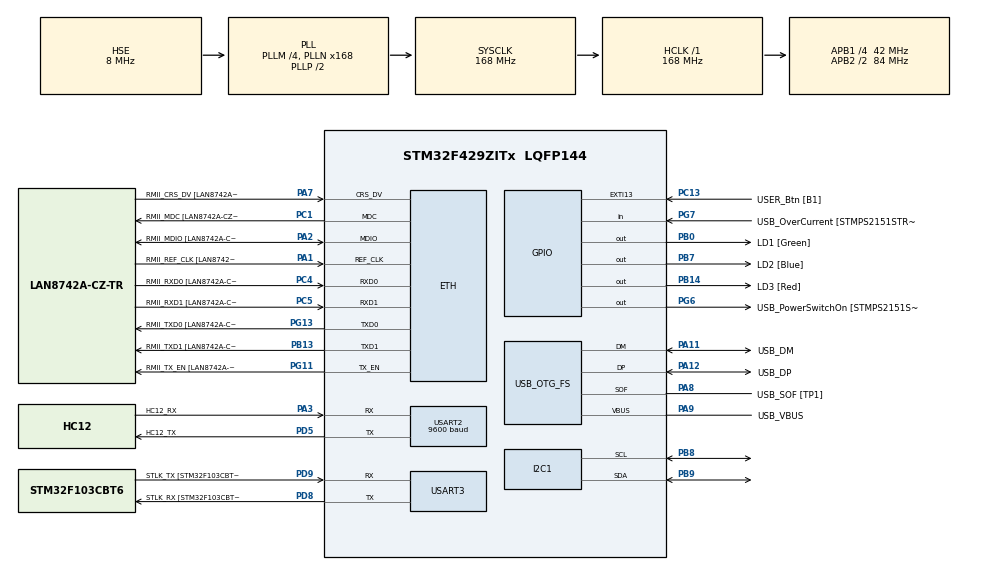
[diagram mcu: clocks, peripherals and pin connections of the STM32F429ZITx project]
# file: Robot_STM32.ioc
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ETH.MediaInterface=HAL_ETH_RMII_MODE
ETH.PHY_Name=LAN8742A_PHY_ADDRESS
ETH.PHY_Value=0
ETH.PhyAddress=0
FREERTOS.Tasks01=defaultTask,31,128,StartDefaultTask,Default,NULL,Dynamic,NULL,NULL;myTask02,8,128,StartTask02,Default,NULL,Dynamic,NULL,NULL
Mcu.Family=STM32F4
Mcu.Name=STM32F429ZITx
Mcu.Package=LQFP144
NVIC.EXTI15_10_IRQn=true\:5\:0\:false\:false\:true\:true\:true\:true\:true
NVIC.PriorityGroup=NVIC_PRIORITYGROUP_4
NVIC.TIM1_UP_TIM10_IRQn=true\:15\:0\:false\:false\:true\:false\:false\:true\:true
NVIC.TimeBase=TIM1_UP_TIM10_IRQn
NVIC.TimeBaseIP=TIM1
PA1.GPIO_Label=RMII_REF_CLK [LAN8742A-CZ-TR_REFCLK0]
PA1.Mode=RMII
PA1.Signal=ETH_REF_CLK
PA10.GPIO_Label=USB_ID
PA10.Signal=USB_OTG_FS_ID
PA11.GPIO_Label=USB_DM
PA11.Mode=Device_Only
PA11.Signal=USB_OTG_FS_DM
PA12.GPIO_Label=USB_DP
PA12.Mode=Device_Only
PA12.Signal=USB_OTG_FS_DP
PA13.GPIO_Label=TMS
PA13.Mode=Serial_Wire
PA13.Signal=SYS_JTMS-SWDIO
PA14.GPIO_Label=TCK
PA14.Mode=Serial_Wire
PA14.Signal=SYS_JTCK-SWCLK
PA2.GPIO_Label=RMII_MDIO [LAN8742A-CZ-TR_MDIO]
PA2.Mode=RMII
PA2.Signal=ETH_MDIO
PA3.GPIO_Label=HC12_RX
PA3.Mode=Asynchronous
PA3.Signal=USART2_RX
PA7.GPIO_Label=RMII_CRS_DV [LAN8742A-CZ-TR_CRS_DV]
PA7.Mode=RMII
PA7.Signal=ETH_CRS_DV
PA8.GPIO_Label=USB_SOF [TP1]
PA8.Mode=Activate_SOF_FS
PA8.Signal=USB_OTG_FS_SOF
PA9.GPIO_Label=USB_VBUS
PA9.Mode=Activate_VBUS
PA9.Signal=USB_OTG_FS_VBUS
PB0.GPIO_Label=LD1 [Green]
PB0.Signal=GPIO_Output
PB13.GPIO_Label=RMII_TXD1 [LAN8742A-CZ-TR_TXD1]
PB13.Mode=RMII
PB13.Signal=ETH_TXD1
PB14.GPIO_Label=LD3 [Red]
PB14.Signal=GPIO_Output
PB7.GPIO_Label=LD2 [Blue]
PB7.Signal=GPIO_Output
PB8.Mode=I2C
PB8.Signal=I2C1_SCL
PB9.Mode=I2C
PB9.Signal=I2C1_SDA
PC1.GPIO_Label=RMII_MDC [LAN8742A-CZ-TR_MDC]
PC1.Mode=RMII
PC1.Signal=ETH_MDC
PC13.GPIO_Label=USER_Btn [B1]
PC13.Signal=GPXTI13
PC14/OSC32_IN.Mode=LSE-External-Oscillator
PC14/OSC32_IN.Signal=RCC_OSC32_IN
PC15/OSC32_OUT.Mode=LSE-External-Oscillator
PC15/OSC32_OUT.Signal=RCC_OSC32_OUT
PC4.GPIO_Label=RMII_RXD0 [LAN8742A-CZ-TR_RXD0]
PC4.Mode=RMII
PC4.Signal=ETH_RXD0
PC5.GPIO_Label=RMII_RXD1 [LAN8742A-CZ-TR_RXD1]
PC5.Mode=RMII
PC5.Signal=ETH_RXD1
PD5.GPIO_Label=HC12_TX
PD5.Mode=Asynchronous
PD5.Signal=USART2_TX
PD8.GPIO_Label=STLK_RX [STM32F103CBT6_PA3]
PD8.Mode=Asynchronous
PD8.Signal=USART3_TX
PD9.GPIO_Label=STLK_TX [STM32F103CBT6_PA2]
PD9.Mode=Asynchronous
PD9.Signal=USART3_RX
PG11.GPIO_Label=RMII_TX_EN [LAN8742A-CZ-TR_TXEN]
PG11.Mode=RMII
PG11.Signal=ETH_TX_EN
PG13.GPIO_Label=RMII_TXD0 [LAN8742A-CZ-TR_TXD0]
PG13.Mode=RMII
PG13.Signal=ETH_TXD0
PG6.GPIO_Label=USB_PowerSwitchOn [STMPS2151STR_EN]
PG6.Signal=GPIO_Output
PG7.GPIO_Label=USB_OverCurrent [STMPS2151STR_FAULT]
PG7.Signal=GPIO_Input
PH0/OSC_IN.GPIO_Label=MCO [STM32F103CBT6_PA8]
PH0/OSC_IN.Mode=HSE-External-Clock-Source
PH0/OSC_IN.Signal=RCC_OSC_IN
PH1/OSC_OUT.Mode=HSE-External-Clock-Source
PH1/OSC_OUT.Signal=RCC_OSC_OUT
ProjectManager.HeapSize=0x200
ProjectManager.StackSize=0x400
ProjectManager.TargetToolchain=Makefile
RCC.48MHZClocksFreq_Value=48000000
RCC.AHBFreq_Value=168000000
RCC.APB1CLKDivider=RCC_HCLK_DIV4
RCC.APB1Freq_Value=42000000
RCC.APB1TimFreq_Value=84000000
RCC.APB2CLKDivider=RCC_HCLK_DIV2
RCC.APB2Freq_Value=84000000
RCC.APB2TimCLKDivider=2
RCC.APB2TimFreq_Value=168000000
RCC.CortexFreq_Value=168000000
RCC.HCLKFreq_Value=168000000
RCC.HSE_VALUE=8000000
RCC.HSI_VALUE=16000000
RCC.PLLM=4
RCC.PLLMUL=RCC_PLL_MUL9
RCC.PLLN=168
RCC.PLLQ=7
RCC.PRESCALERUSB=RCC_USBCLKSOURCE_PLL_DIV1_5
RCC.SYSCLKFreq_VALUE=168000000
RCC.SYSCLKSource=RCC_SYSCLKSOURCE_PLLCLK
RCC.SYSCLKSourceVirtual=RCC_SYSCLKSOURCE_PLLCLK
RCC.USBFreq_Value=48000000
RCC.VCOOutputFreq_Value=336000000
USART2.BaudRate=9600
USART2.Mode=MODE_RX
USART2.VirtualMode=VM_ASYNC
USART3.VirtualMode=VM_ASYNC
USB_OTG_FS.VirtualMode=Device_Only
VP_FREERTOS_VS_CMSIS_V2.Mode=CMSIS_V2
VP_SYS_VS_tim1.Mode=TIM1
board=NUCLEO-F429ZI

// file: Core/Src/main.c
/* USER CODE BEGIN Header */
/**
 ******************************************************************************
 * @file           : main.c
 * @brief          : Main program body
 ******************************************************************************
 * @attention
 *
 * Copyright (c) 2024 STMicroelectronics.
 * All rights reserved.
 *
 * This software is licensed under terms that can be found in the LICENSE file
 * in the root directory of this software component.
 * If no LICENSE file comes with this software, it is provided AS-IS.
 *
 ******************************************************************************
 */
/* USER CODE END Header */
#include "main.h"
#include "string.h"
#include "cmsis_os.h"

/* USER CODE BEGIN Includes */
#include <stdio.h>
// #include <MPU9250.h>
/* USER CODE END Includes */

ETH_TxPacketConfig TxConfig;
ETH_DMADescTypeDef DMARxDscrTab[ETH_RX_DESC_CNT]; /* Ethernet Rx DMA Descriptors */
ETH_DMADescTypeDef DMATxDscrTab[ETH_TX_DESC_CNT]; /* Ethernet Tx DMA Descriptors */

ETH_HandleTypeDef heth;

I2C_HandleTypeDef hi2c1;

UART_HandleTypeDef huart2;
UART_HandleTypeDef huart3;

PCD_HandleTypeDef hpcd_USB_OTG_FS;

/* Definitions for defaultTask */
osThreadId_t defaultTaskHandle;
const osThreadAttr_t defaultTask_attributes = {
    .name = "defaultTask",
    .stack_size = 128 * 4,
    .priority = (osPriority_t)osPriorityNormal7,
};
/* Definitions for myTask02 */
osThreadId_t myTask02Handle;
const osThreadAttr_t myTask02_attributes = {
    .name = "myTask02",
    .stack_size = 128 * 4,
    .priority = (osPriority_t)osPriorityLow,
};
/* USER CODE BEGIN PV */
// const address = MPU9250_ADDRESS;

/* USER CODE END PV */

void SystemClock_Config(void);
static void MX_GPIO_Init(void);
static void MX_ETH_Init(void);
static void MX_USART3_UART_Init(void);
static void MX_USB_OTG_FS_PCD_Init(void);
static void MX_I2C1_Init(void);
static void MX_USART2_UART_Init(void);
void StartDefaultTask(void *argument);
void StartTask02(void *argument);

/* USER CODE BEGIN 0 */
int _write(int le, char *ptr, int len)

{

  int DataIdx;
  for (DataIdx = 0; DataIdx < len; DataIdx++)

  {
    ITM_SendChar(*ptr++);
  }
  return len;
}

void I2C_Scan()
{
  char info[] = "Scanning I2C bus...\r\n";
  // HAL_UART_Transmit(&huart2, (uint8_t*)info, strlen(info), HAL_MAX_DELAY);
  printf("%s", info);

  HAL_StatusTypeDef res;
  for (uint16_t i = 0; i < 128; i++)
  {
    res = HAL_I2C_IsDeviceReady(&hi2c1, i << 1, 1, 10);
    if (res == HAL_OK)
    {
      char msg[64];
      snprintf(msg, sizeof(msg), "0x%02X", i);
      // HAL_UART_Transmit(&huart2, (uint8_t *)msg, strlen(msg), HAL_MAX_DELAY);
      printf("%s", msg);
    }
    else
    {
      // HAL_UART_Transmit(&huart2, (uint8_t *)".", 1, HAL_MAX_DELAY);
      printf(".");
    }
  }

  // HAL_UART_Transmit(&huart2, (uint8_t *)"\r\n", 2, HAL_MAX_DELAY);
  printf("\r\n");
}
void skip()
{

  // void magWakeup(void)
  // {
  //   char bits;
  //   i2c_readByte(address, PWR_MGMT_1, &bits);
  //   bits &= ~0b01110000; // Turn off SLEEP, STANDBY, CYCLE
  //   i2c_writeByte(address, MPU9250_ADDR_PWR_MGMT_1, bits);
  // }

  // void magEnableSlaveMode(void)
  // {
  //   char bits;

  //   i2c_readByte(address, MPU9250_ADDR_INT_PIN_CFG, &bits);
  //   bits |= 0b00000010; // Activate BYPASS_EN
  //   i2c_writeByte(address, MPU9250_ADDR_INT_PIN_CFG, bits);
  // }

  // float adjustMagValue(int16_t value, uint8_t adjust)
  // {
  //   return ((float)value * (((((float)adjust - 128) * 0.5) / 128) + 1));
  // }

  // float MPU9250_magX(void)
  // {
  //   return adjustMagValue(MPU9250_magGet(1, 0), magXAdjust) + magXOffset;
  // }

  // float MPU9250_magY(void)
  // {
  //   return adjustMagValue(MPU9250_magGet(3, 2), magYAdjust) + magYOffset;
  // }

  // float MPU9250_magZ(void)
  // {
  //   return adjustMagValue(MPU9250_magGet(5, 4), magZAdjust) + magZOffset;
  // }

  // float MPU9250_magHorizDirection(void)
  // {
  //   return atan2(MPU9250_magX(), MPU9250_magY()) * 180 / Pi;
  // }

  // uint8_t MPU9250_magUpdate(void)
  // {

  //   i2c_ReadMulti(AK8963_ADDRESS, 0x03, 7, (char *)magBuf);

  //   return 0;
  // }

  // void MPU9250_beginMag(uint8_t mode)
  // {

  //   magWakeup();
  //   magEnableSlaveMode();
  //   magReadAdjustValues();
  //   magSetMode(MAG_MODE_POWERDOWN);
  //   magSetMode(mode);
  // }

  // void initMPU9250()
  // {
  //   uint8_t byte = 0;
  //   HAL_I2C_Mem_Read(&hi2c1, MPU9250_ADDRESS, GYRO_CONFIG, 1, &byte, 1, 100);
  //   byte = GYRO_FULL_SCALE_500_DPS;
  //   HAL_I2C_Mem_Write(&hi2c1, MPU9250_ADDRESS, GYRO_CONFIG, 1, &byte, 1, 100);
  //   byte = 0;
  //   HAL_I2C_Mem_Read(&hi2c1, MPU9250_ADDRESS, GYRO_CONFIG, 1, &byte, 1, 100);
  //   HAL_I2C_Master_Transmit()
  // }

  // //     void readGyroData(int16_t *destination)
  // //     {
  // //         uint8_t rawData[6];                                                  // x/y/z gyro register data stored here
  // //         readBytes(MPU9250_ADDRESS, GYRO_XOUT_H, 6, &rawData[0]);             // Read the six raw data registers sequentially into data array
  // //         destination[0] = (int16_t)(((int16_t)rawData[0] << 8) | rawData[1]); // Turn the MSB and LSB into a signed 16-bit value
  // //         destination[1] = (int16_t)(((int16_t)rawData[2] << 8) | rawData[3]);
  // //         destination[2] = (int16_t)(((int16_t)rawData[4] << 8) | rawData[5]);
  // //     }

  // void read_gyro()
  // {
  //   uint8_t gyro[6] = {0, 0, 0, 0, 0, 0};
  //   HAL_I2C_Mem_Read(&hi2c1, MPU9250_ADDRESS, GYRO_XOUT_H, 6, &gyro[0], 6, 100);
  //   int16_t gyro_x, gyro_y, gyro_z = 0;
  //   gyro_x = (int16_t)(((int16_t)gyro[0] << 8) | gyro[1]);
  //   gyro_y = (int16_t)(((int16_t)gyro[2] << 8) | gyro[3]);
  //   gyro_z = (int16_t)(((int16_t)gyro[4] << 8) | gyro[5]);
  //   printf("Gyro: (%d, %d, %d)\r\n", gyro_x, gyro_y, gyro_z);
  // }
}

/* USER CODE END 0 */

int main(void)
{

  /* MCU Configuration--------------------------------------------------------*/

  /* Reset of all peripherals, Initializes the Flash interface and the Systick. */
  HAL_Init();

  /* Configure the system clock */
  SystemClock_Config();

  /* Initialize all configured peripherals */
  MX_GPIO_Init();
  MX_ETH_Init();
  MX_USART3_UART_Init();
  MX_USB_OTG_FS_PCD_Init();
  MX_I2C1_Init();
  MX_USART2_UART_Init();
  /* USER CODE BEGIN 2 */
  printf("Starting\n");
  // initMPU9250();
  /* USER CODE END 2 */

  /* Init scheduler */
  osKernelInitialize();

  /* Create the thread(s) */
  /* creation of defaultTask */
  defaultTaskHandle = osThreadNew(StartDefaultTask, NULL, &defaultTask_attributes);

  /* creation of myTask02 */
  myTask02Handle = osThreadNew(StartTask02, NULL, &myTask02_attributes);

  /* Start scheduler */
  osKernelStart();

  /* We should never get here as control is now taken by the scheduler */
  /* Infinite loop */
  while (1)
  {

  }
}

void SystemClock_Config(void)
{
  RCC_OscInitTypeDef RCC_OscInitStruct = {0};
  RCC_ClkInitTypeDef RCC_ClkInitStruct = {0};

  /** Configure the main internal regulator output voltage
   */
  __HAL_RCC_PWR_CLK_ENABLE();
  __HAL_PWR_VOLTAGESCALING_CONFIG(PWR_REGULATOR_VOLTAGE_SCALE1);

  /** Initializes the RCC Oscillators according to the specified parameters
   * in the RCC_OscInitTypeDef structure.
   */
  RCC_OscInitStruct.OscillatorType = RCC_OSCILLATORTYPE_HSE;
  RCC_OscInitStruct.HSEState = RCC_HSE_BYPASS;
  RCC_OscInitStruct.PLL.PLLState = RCC_PLL_ON;
  RCC_OscInitStruct.PLL.PLLSource = RCC_PLLSOURCE_HSE;
  RCC_OscInitStruct.PLL.PLLM = 4;
  RCC_OscInitStruct.PLL.PLLN = 168;
  RCC_OscInitStruct.PLL.PLLP = RCC_PLLP_DIV2;
  RCC_OscInitStruct.PLL.PLLQ = 7;
  if (HAL_RCC_OscConfig(&RCC_OscInitStruct) != HAL_OK)
  {
    Error_Handler();
  }

  /** Initializes the CPU, AHB and APB buses clocks
   */
  RCC_ClkInitStruct.ClockType = RCC_CLOCKTYPE_HCLK | RCC_CLOCKTYPE_SYSCLK | RCC_CLOCKTYPE_PCLK1 | RCC_CLOCKTYPE_PCLK2;
  RCC_ClkInitStruct.SYSCLKSource = RCC_SYSCLKSOURCE_PLLCLK;
  RCC_ClkInitStruct.AHBCLKDivider = RCC_SYSCLK_DIV1;
  RCC_ClkInitStruct.APB1CLKDivider = RCC_HCLK_DIV4;
  RCC_ClkInitStruct.APB2CLKDivider = RCC_HCLK_DIV2;

  if (HAL_RCC_ClockConfig(&RCC_ClkInitStruct, FLASH_LATENCY_5) != HAL_OK)
  {
    Error_Handler();
  }
}

static void MX_ETH_Init(void)
{

  static uint8_t MACAddr[6];

  heth.Instance = ETH;
  MACAddr[0] = 0x00;
  MACAddr[1] = 0x80;
  MACAddr[2] = 0xE1;
  MACAddr[3] = 0x00;
  MACAddr[4] = 0x00;
  MACAddr[5] = 0x00;
  heth.Init.MACAddr = &MACAddr[0];
  heth.Init.MediaInterface = HAL_ETH_RMII_MODE;
  heth.Init.TxDesc = DMATxDscrTab;
  heth.Init.RxDesc = DMARxDscrTab;
  heth.Init.RxBuffLen = 1524;

  if (HAL_ETH_Init(&heth) != HAL_OK)
  {
    Error_Handler();
  }

  memset(&TxConfig, 0, sizeof(ETH_TxPacketConfig));
  TxConfig.Attributes = ETH_TX_PACKETS_FEATURES_CSUM | ETH_TX_PACKETS_FEATURES_CRCPAD;
  TxConfig.ChecksumCtrl = ETH_CHECKSUM_IPHDR_PAYLOAD_INSERT_PHDR_CALC;
  TxConfig.CRCPadCtrl = ETH_CRC_PAD_INSERT;
}

static void MX_I2C1_Init(void)
{

  hi2c1.Instance = I2C1;
  hi2c1.Init.ClockSpeed = 100000;
  hi2c1.Init.DutyCycle = I2C_DUTYCYCLE_2;
  hi2c1.Init.OwnAddress1 = 0;
  hi2c1.Init.AddressingMode = I2C_ADDRESSINGMODE_7BIT;
  hi2c1.Init.DualAddressMode = I2C_DUALADDRESS_DISABLE;
  hi2c1.Init.OwnAddress2 = 0;
  hi2c1.Init.GeneralCallMode = I2C_GENERALCALL_DISABLE;
  hi2c1.Init.NoStretchMode = I2C_NOSTRETCH_DISABLE;
  if (HAL_I2C_Init(&hi2c1) != HAL_OK)
  {
    Error_Handler();
  }

  /** Configure Analogue filter
   */
  if (HAL_I2CEx_ConfigAnalogFilter(&hi2c1, I2C_ANALOGFILTER_ENABLE) != HAL_OK)
  {
    Error_Handler();
  }

  /** Configure Digital filter
   */
  if (HAL_I2CEx_ConfigDigitalFilter(&hi2c1, 0) != HAL_OK)
  {
    Error_Handler();
  }
}

static void MX_USART2_UART_Init(void)
{

  huart2.Instance = USART2;
  huart2.Init.BaudRate = 9600;
  huart2.Init.WordLength = UART_WORDLENGTH_8B;
  huart2.Init.StopBits = UART_STOPBITS_1;
  huart2.Init.Parity = UART_PARITY_NONE;
  huart2.Init.Mode = UART_MODE_RX;
  huart2.Init.HwFlowCtl = UART_HWCONTROL_NONE;
  huart2.Init.OverSampling = UART_OVERSAMPLING_16;
  if (HAL_UART_Init(&huart2) != HAL_OK)
  {
    Error_Handler();
  }
}

static void MX_USART3_UART_Init(void)
{

  huart3.Instance = USART3;
  huart3.Init.BaudRate = 115200;
  huart3.Init.WordLength = UART_WORDLENGTH_8B;
  huart3.Init.StopBits = UART_STOPBITS_1;
  huart3.Init.Parity = UART_PARITY_NONE;
  huart3.Init.Mode = UART_MODE_TX_RX;
  huart3.Init.HwFlowCtl = UART_HWCONTROL_NONE;
  huart3.Init.OverSampling = UART_OVERSAMPLING_16;
  if (HAL_UART_Init(&huart3) != HAL_OK)
  {
    Error_Handler();
  }
}

static void MX_USB_OTG_FS_PCD_Init(void)
{

  hpcd_USB_OTG_FS.Instance = USB_OTG_FS;
  hpcd_USB_OTG_FS.Init.dev_endpoints = 4;
  hpcd_USB_OTG_FS.Init.speed = PCD_SPEED_FULL;
  hpcd_USB_OTG_FS.Init.dma_enable = DISABLE;
  hpcd_USB_OTG_FS.Init.phy_itface = PCD_PHY_EMBEDDED;
  hpcd_USB_OTG_FS.Init.Sof_enable = ENABLE;
  hpcd_USB_OTG_FS.Init.low_power_enable = DISABLE;
  hpcd_USB_OTG_FS.Init.lpm_enable = DISABLE;
  hpcd_USB_OTG_FS.Init.vbus_sensing_enable = ENABLE;
  hpcd_USB_OTG_FS.Init.use_dedicated_ep1 = DISABLE;
  if (HAL_PCD_Init(&hpcd_USB_OTG_FS) != HAL_OK)
  {
    Error_Handler();
  }
}

static void MX_GPIO_Init(void)
{
  GPIO_InitTypeDef GPIO_InitStruct = {0};

  /* GPIO Ports Clock Enable */
  __HAL_RCC_GPIOC_CLK_ENABLE();
  __HAL_RCC_GPIOH_CLK_ENABLE();
  __HAL_RCC_GPIOA_CLK_ENABLE();
  __HAL_RCC_GPIOB_CLK_ENABLE();
  __HAL_RCC_GPIOD_CLK_ENABLE();
  __HAL_RCC_GPIOG_CLK_ENABLE();

  /*Configure GPIO pin Output Level */
  HAL_GPIO_WritePin(GPIOB, LD1_Pin | LD3_Pin | LD2_Pin, GPIO_PIN_RESET);

  /*Configure GPIO pin Output Level */
  HAL_GPIO_WritePin(USB_PowerSwitchOn_GPIO_Port, USB_PowerSwitchOn_Pin, GPIO_PIN_RESET);

  /*Configure GPIO pin : USER_Btn_Pin */
  GPIO_InitStruct.Pin = USER_Btn_Pin;
  GPIO_InitStruct.Mode = GPIO_MODE_IT_RISING;
  GPIO_InitStruct.Pull = GPIO_NOPULL;
  HAL_GPIO_Init(USER_Btn_GPIO_Port, &GPIO_InitStruct);

  /*Configure GPIO pins : LD1_Pin LD3_Pin LD2_Pin */
  GPIO_InitStruct.Pin = LD1_Pin | LD3_Pin | LD2_Pin;
  GPIO_InitStruct.Mode = GPIO_MODE_OUTPUT_PP;
  GPIO_InitStruct.Pull = GPIO_NOPULL;
  GPIO_InitStruct.Speed = GPIO_SPEED_FREQ_LOW;
  HAL_GPIO_Init(GPIOB, &GPIO_InitStruct);

  /*Configure GPIO pin : USB_PowerSwitchOn_Pin */
  GPIO_InitStruct.Pin = USB_PowerSwitchOn_Pin;
  GPIO_InitStruct.Mode = GPIO_MODE_OUTPUT_PP;
  GPIO_InitStruct.Pull = GPIO_NOPULL;
  GPIO_InitStruct.Speed = GPIO_SPEED_FREQ_LOW;
  HAL_GPIO_Init(USB_PowerSwitchOn_GPIO_Port, &GPIO_InitStruct);

  /*Configure GPIO pin : USB_OverCurrent_Pin */
  GPIO_InitStruct.Pin = USB_OverCurrent_Pin;
  GPIO_InitStruct.Mode = GPIO_MODE_INPUT;
  GPIO_InitStruct.Pull = GPIO_NOPULL;
  HAL_GPIO_Init(USB_OverCurrent_GPIO_Port, &GPIO_InitStruct);

  /* EXTI interrupt init*/
  HAL_NVIC_SetPriority(EXTI15_10_IRQn, 5, 0);
  HAL_NVIC_EnableIRQ(EXTI15_10_IRQn);

}

/* USER CODE BEGIN 4 */

void HAL_GPIO_EXTI_Callback(uint16_t GPIO_Pin)
{
  if (GPIO_Pin == USER_Btn_Pin)
  {
    printf("Button pressed\n");
    // HAL_GPIO_TogglePin(LD3_GPIO_Port, LD3_Pin);
    // I2C_Scan();
    // read_gyro();
  }
  else
  {
    __NOP();
  }
}

/* USER CODE END 4 */

void StartDefaultTask(void *argument)
{
  /* USER CODE BEGIN 5 */
  /* Infinite loop */
  for (;;)
  {
    char rx_byte = 0;
    HAL_GPIO_TogglePin(LD1_GPIO_Port, LD1_Pin);
    volatile HAL_StatusTy peDef ret_state;
    do
    {
      ret_state = HAL_UART_Receive(&huart2, (uint8_t *)&rx_byte, 1, 200);
      printf("%c", rx_byte);
      if (ret_state == HAL_OK)
        HAL_GPIO_TogglePin(LD3_GPIO_Port, LD3_Pin);
    } while (ret_state == HAL_OK);
    osDelay(50);
  }
  /* USER CODE END 5 */
}

void StartTask02(void *argument)
{
  /* USER CODE BEGIN StartTask02 */
  /* Infinite loop */
  for (;;)
  {
    osDelay(1000);
    HAL_GPIO_TogglePin(LD2_GPIO_Port, LD2_Pin);
    printf("World\n");
  }
  /* USER CODE END StartTask02 */
}

void HAL_TIM_PeriodElapsedCallback(TIM_HandleTypeDef *htim)
{
  if (htim->Instance == TIM1)
  {
    HAL_IncTick();
  }
}

void Error_Handler(void)
{
  __disable_irq();
  while (1)
  {
  }
}
